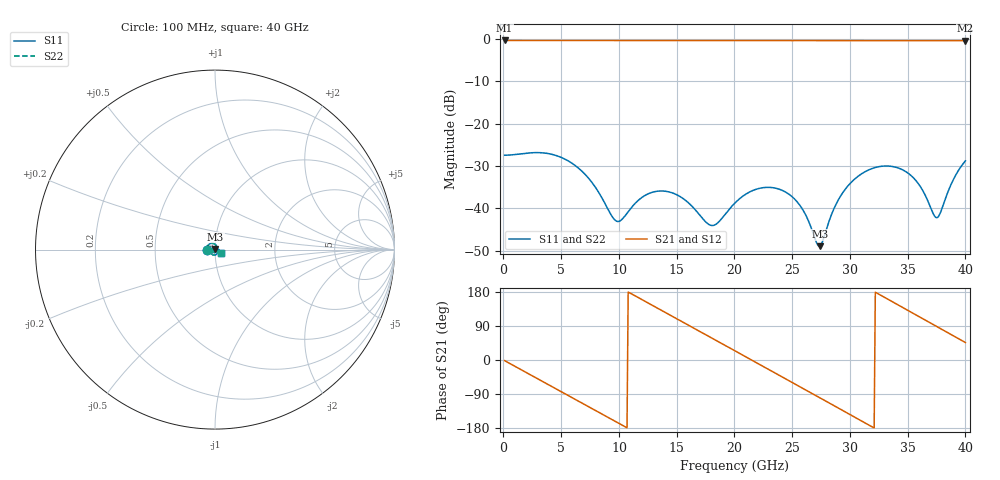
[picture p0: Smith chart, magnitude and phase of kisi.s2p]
! thru_s8x4_L1: 2×thru, L1, 8 mm
! stackup: 8-layer 1.6 mm FR-4 without the L4 plane
! ports: 1, 2
! kisi-fdtd, conformal, dfine 0.035 mm, 413725 cells
# Hz S RI R 50
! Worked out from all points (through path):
!   400 points, 100 MHz to 40 GHz, reference 50 ohm
!   highest |S21| = -0.44 dB at 100 MHz (marker M1); lowest = -0.5 dB at 40 GHz (marker M2)
!   group delay of S21, straight-line fit = 46.8 ps
!   lowest |S11| = -48.9 dB at 27.4 GHz (marker M3), VSWR 1.01, Z = 50.1 + j0.343 ohm
!   |S11| at or under -10 dB: start of sweep to end of sweep
!   |S22| runs from -48.9 to -26.9 dB; largest |S21 - S12| = 0
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1e8  -0.0423 0.00048  0.9506 -0.0278  0.9506 -0.0278  -0.0423 0.00048
1.8e9  -0.043 0.011  0.8226 -0.4769  0.8226 -0.4769  -0.043 0.011
3.8e9  -0.0335 0.0291  0.4234 -0.8509  0.4234 -0.8509  -0.0335 0.0291
6.8e9  0.00298 0.0272  -0.3816 -0.8699  -0.3816 -0.8699  0.00298 0.0272
9.8e9  0.00567 -0.00421  -0.9123 -0.2638  -0.9123 -0.2638  0.00567 -0.00421
1.16e10  -0.00802 -0.00917  -0.9213 0.2299  -0.9213 0.2299  -0.00802 -0.00917
1.34e10  -0.0159 -0.00115  -0.681 0.6616  -0.681 0.6616  -0.0159 -0.00115
1.51e10  -0.0119 0.00793  -0.2825 0.9062  -0.2825 0.9062  -0.0119 0.00793
1.67e10  -0.00177 0.00916  0.1573 0.9359  0.1573 0.9359  -0.00177 0.00916
1.82e10  0.00587 0.00233  0.5407 0.7797  0.5407 0.7797  0.00587 0.00233
2.01e10  0.00537 -0.0105  0.8711 0.3754  0.8711 0.3754  0.00537 -0.0105
2.31e10  -0.011 -0.0138  0.8432 -0.4335  0.8432 -0.4335  -0.011 -0.0138
2.52e10  -0.0128 -0.0021  0.4358 -0.8417  0.4358 -0.8417  -0.0128 -0.0021
2.67e10  -0.00436 0.00359  0.0337 -0.9471  0.0337 -0.9471  -0.00436 0.00359
2.74e10  0.00107 0.00343  -0.1612 -0.9338  -0.1612 -0.9338  0.00107 0.00343
2.87e10  0.0102 -0.00255  -0.4991 -0.8053  -0.4991 -0.8053  0.0102 -0.00255
2.99e10  0.0137 -0.013  -0.7475 -0.5818  -0.7475 -0.5818  0.0137 -0.013
3.17e10  0.00566 -0.0281  -0.9391 -0.1216  -0.9391 -0.1216  0.00566 -0.0281
3.34e10  -0.0112 -0.0294  -0.8809 0.3467  -0.8809 0.3467  -0.0112 -0.0294
3.56e10  -0.0206 -0.00821  -0.4889 0.8101  -0.4889 0.8101  -0.0206 -0.00821
3.75e10  -0.00107 0.00769  0.0205 0.9456  0.0205 0.9456  -0.00107 0.00769
4e10  0.0313 -0.0184  0.6554 0.6812  0.6554 0.6812  0.0313 -0.0184
